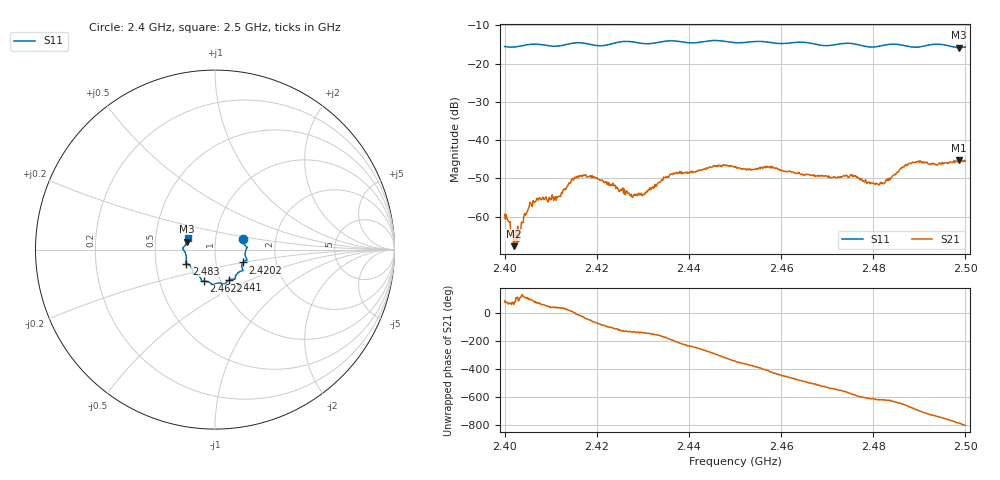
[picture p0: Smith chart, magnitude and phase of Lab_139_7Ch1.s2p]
# Hz S RI R 50
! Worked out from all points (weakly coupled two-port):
!   601 points, 2.4 GHz to 2.5 GHz, reference 50 ohm
!   highest |S21| = -45.24 dB at 2.4987 GHz (marker M1); lowest = -67.7 dB at 2.402 GHz (marker M2)
!   lowest |S11| = -15.8 dB at 2.4987 GHz (marker M3), VSWR 1.39, Z = 36.4 + j3.29 ohm
!   |S11| at or under -10 dB: start of sweep to end of sweep
!   S12 and S22 are empty: the file has one direction only
!   S11 on the Smith chart (normalised r, x): 2.4 GHz: 1.36, +0.17; 2.4202 GHz: 1.35, -0.20; 2.441 GHz: 1.10, -0.39; 2.4622 GHz: 0.83, -0.30; 2.483 GHz: 0.72, -0.12; 2.5 GHz: 0.73, +0.09
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2.4e9  0.1564 0.0602  8.74e-05 0.00107  0 0  0 0
2.402e9  0.1608 0.0363  0.000208 0.000355  0 0  0 0
2.403e9  0.1655 0.0267  4.49e-05 0.000466  0 0  0 0
2.405833e9  0.179 0.0138  -2.47e-05 0.00144  0 0  0 0
2.411667e9  0.1678 -0.0266  0.00144 0.00115  0 0  0 0
2.414833e9  0.1772 -0.0542  0.00302 0.000337  0 0  0 0
2.416667e9  0.1776 -0.0585  0.00314 -0.0014  0 0  0 0
2.420167e9  0.1561 -0.0717  0.000844 -0.00302  0 0  0 0
2.427667e9  0.1531 -0.1174  -0.00132 -0.00121  0 0  0 0
2.433333e9  0.1129 -0.1524  -0.00261 -0.000994  0 0  0 0
2.436333e9  0.1102 -0.1654  -0.00352 0.000925  0 0  0 0
2.441e9  0.0769 -0.1706  -0.00165 0.00343  0 0  0 0
2.45e9  0.0267 -0.1863  0.00427 0.00117  0 0  0 0
2.462167e9  -0.063 -0.1763  -0.000973 -0.0037  0 0  0 0
2.466667e9  -0.0765 -0.167  -0.00287 -0.00201  0 0  0 0
2.475667e9  -0.1256 -0.1324  -0.00251 0.00241  0 0  0 0
2.480833e9  -0.143 -0.0867  -0.000435 0.00266  0 0  0 0
2.483e9  -0.1591 -0.078  -0.000266 0.00294  0 0  0 0
2.483333e9  -0.1608 -0.0772  -0.00028 0.00295  0 0  0 0
2.488167e9  -0.1593 -0.046  0.00347 0.0035  0 0  0 0
2.498667e9  -0.1557 0.044  0.00207 -0.00506  0 0  0 0
2.5e9  -0.1532 0.0625  0.000583 -0.00532  0 0  0 0
